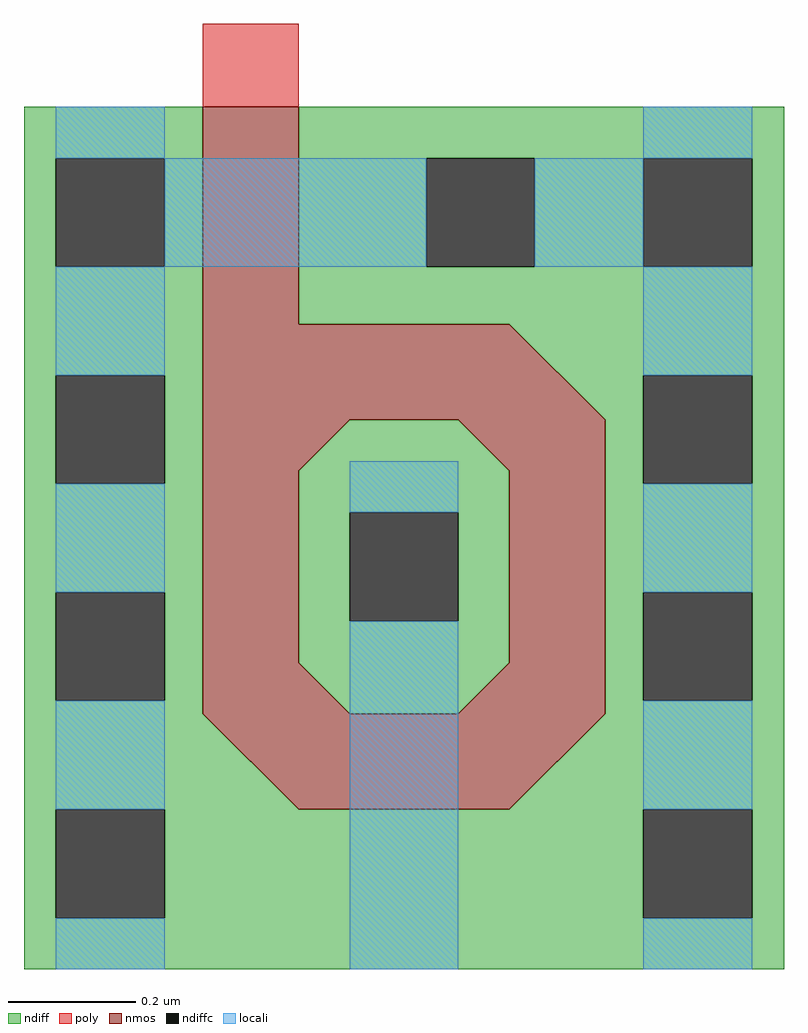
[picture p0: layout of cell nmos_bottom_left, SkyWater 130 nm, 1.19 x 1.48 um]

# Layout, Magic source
magic
tech sky130A
magscale 1 2
<< nmos >>
rect 56 202 86 270
rect 56 172 152 202
tri 152 172 182 202 sw
rect 56 80 86 172
tri 86 156 102 172 nw
tri 136 156 152 172 ne
tri 86 80 102 96 sw
tri 136 80 152 96 se
rect 152 80 182 172
tri 56 50 86 80 ne
rect 86 50 152 80
tri 152 50 182 80 nw
<< ndiff >>
rect 0 254 56 270
rect 0 220 10 254
rect 44 220 56 254
rect 0 186 56 220
rect 86 254 238 270
rect 86 220 126 254
rect 160 220 194 254
rect 228 220 238 254
rect 86 202 238 220
rect 0 152 10 186
rect 44 152 56 186
tri 152 172 182 202 ne
rect 182 186 238 202
rect 0 118 56 152
rect 0 84 10 118
rect 44 84 56 118
rect 0 50 56 84
tri 86 156 102 172 se
rect 102 156 136 172
tri 136 156 152 172 sw
rect 86 143 152 156
rect 86 109 102 143
rect 136 109 152 143
rect 86 96 152 109
tri 86 80 102 96 ne
rect 102 80 136 96
tri 136 80 152 96 nw
rect 182 152 194 186
rect 228 152 238 186
rect 182 118 238 152
rect 182 84 194 118
rect 228 84 238 118
tri 56 50 86 80 sw
tri 152 50 182 80 se
rect 182 50 238 84
rect 0 16 10 50
rect 44 16 194 50
rect 228 16 238 50
rect 0 0 238 16
<< ndiffc >>
rect 10 220 44 254
rect 126 220 160 254
rect 194 220 228 254
rect 10 152 44 186
rect 10 84 44 118
rect 102 109 136 143
rect 194 152 228 186
rect 194 84 228 118
rect 10 16 44 50
rect 194 16 228 50
<< poly >>
rect 56 270 86 296
<< locali >>
rect 10 254 44 270
rect 194 254 228 270
rect 44 220 126 254
rect 160 220 194 254
rect 10 186 44 220
rect 194 186 228 220
rect 10 118 44 152
rect 10 50 44 84
rect 10 0 44 16
rect 102 143 136 159
rect 102 0 136 109
rect 194 118 228 152
rect 194 50 228 84
rect 194 0 228 16
<< end >>
